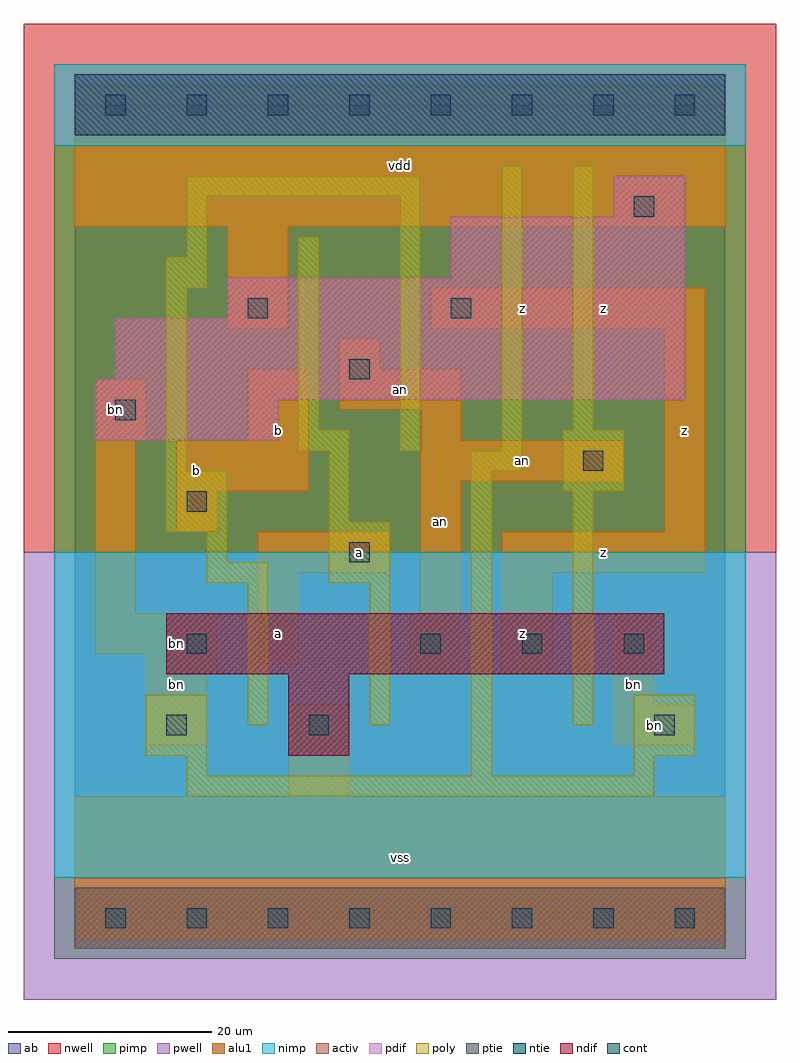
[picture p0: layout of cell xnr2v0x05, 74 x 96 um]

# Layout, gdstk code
import gdstk
lib = gdstk.Library(unit=1e-6, precision=1e-09)
def R(c, l, rs):  # rectangles x0, y0, x1, y1
    for r in rs: c.add(gdstk.rectangle(r[:2], r[2:], *l))
def A(c, l, x, y, w, h, nx, ny, dx, dy):  # array of equal rectangles
    R(c, l, [(x+i*dx, y+j*dy, x+i*dx+w, y+j*dy+h) for i in range(nx) for j in range(ny)])
ndif = (3, 0)
pdif = (4, 0)
ntie = (5, 0)
ptie = (6, 0)
cont = (25, 0)
pwell = (41, 0)
nwell = (42, 0)
activ = (43, 0)
pimp = (44, 0)
nimp = (45, 0)
poly = (46, 0)
alu1 = (49, 0)
ab = (63, 0)

xnr2v0x05 = lib.new_cell('xnr2v0x05')
R(xnr2v0x05, ndif, [(21,16,27,24), (9,24,58,30)])
R(xnr2v0x05, pdif, [(2,47,20,51), (2,51,60,53), (4,53,60,59), (15,59,60,63), (37,63,60,69), (53,69,60,73)])
R(xnr2v0x05, ntie, [(0,77,64,83)])
R(xnr2v0x05, ptie, [(0,-3,64,3)])
A(xnr2v0x05, cont, 3, -1, 2, 2, 8, 2, 8, 80)
A(xnr2v0x05, cont, 34, 26, 2, 2, 3, 1, 10, 0)
R(xnr2v0x05, cont, [(9,18,11,20), (23,18,25,20), (57,18,59,20), (11,26,13,28), (27,35,29,37), (11,40,13,42), (50,44,52,46), (4,49,6,51), (27,53,29,55), (17,59,19,61), (37,59,39,61), (55,69,57,71)])
R(xnr2v0x05, pwell, [(-5,-8,69,36)])
R(xnr2v0x05, nwell, [(-5,36,69,88)])
R(xnr2v0x05, activ, [(0,-3,64,3), (21,16,27,24), (9,24,58,30), (2,47,20,51), (2,51,60,53), (4,53,60,59), (15,59,60,63), (37,63,60,69), (53,69,60,73), (0,77,64,83)])
R(xnr2v0x05, pimp, [(-2,-4,66,4), (-2,36,66,76)])
R(xnr2v0x05, nimp, [(-2,4,66,36), (-2,76,66,84)])
R(xnr2v0x05, poly, [(11,12,57,14), (11,14,13,16), (39,14,41,44), (55,14,57,16), (7,16,13,22), (55,16,61,22), (17,19,19,33), (29,19,31,33), (49,19,51,42), (13,33,19,35), (25,33,31,39), (13,35,15,38), (9,38,15,44), (25,39,27,46), (48,42,54,48), (9,44,11,62), (39,44,44,46), (22,46,27,48), (32,46,34,71), (42,46,44,74), (22,48,24,67), (49,48,51,74), (9,62,13,65), (11,65,13,71), (11,71,34,73)])
R(xnr2v0x05, alu1, [(0,-2,64,12), (21,12,27,21), (7,17,13,24), (53,17,61,21), (53,21,57,30), (7,24,14,26), (33,24,38,30), (42,24,47,34), (18,25,22,34), (2,26,14,30), (2,30,6,47), (34,30,38,43), (18,34,31,38), (42,34,62,38), (10,38,14,42), (58,38,62,58), (10,42,23,47), (34,43,54,47), (2,47,7,53), (17,47,23,54), (34,47,38,50), (26,50,38,54), (26,54,30,57), (15,58,21,68), (35,58,62,62), (0,68,64,82)])
R(xnr2v0x05, ab, [(0,0,64,80)])
xnr2v0x05.add(gdstk.Label('bn', (10,23), layer=49, texttype=0))
xnr2v0x05.add(gdstk.Label('bn', (10,27), layer=49, texttype=0))
xnr2v0x05.add(gdstk.Label('bn', (4,50), layer=49, texttype=0))
xnr2v0x05.add(gdstk.Label('an', (36,39), layer=49, texttype=0))
xnr2v0x05.add(gdstk.Label('an', (32,52), layer=49, texttype=0))
xnr2v0x05.add(gdstk.Label('bn', (57,19), layer=49, texttype=0))
xnr2v0x05.add(gdstk.Label('bn', (55,23), layer=49, texttype=0))
xnr2v0x05.add(gdstk.Label('an', (44,45), layer=49, texttype=0))
xnr2v0x05.add(gdstk.Label('b', (12,44), layer=49, texttype=0))
xnr2v0x05.add(gdstk.Label('a', (28,36), layer=49, texttype=0))
xnr2v0x05.add(gdstk.Label('a', (20,28), layer=49, texttype=0))
xnr2v0x05.add(gdstk.Label('b', (20,48), layer=49, texttype=0))
xnr2v0x05.add(gdstk.Label('vss', (32,6), layer=49, texttype=0))
xnr2v0x05.add(gdstk.Label('z', (44,28), layer=49, texttype=0))
xnr2v0x05.add(gdstk.Label('z', (44,60), layer=49, texttype=0))
xnr2v0x05.add(gdstk.Label('vdd', (32,74), layer=49, texttype=0))
xnr2v0x05.add(gdstk.Label('z', (52,36), layer=49, texttype=0))
xnr2v0x05.add(gdstk.Label('z', (60,48), layer=49, texttype=0))
xnr2v0x05.add(gdstk.Label('z', (52,60), layer=49, texttype=0))

lib.write_gds('xnr2v0x05.gds')
